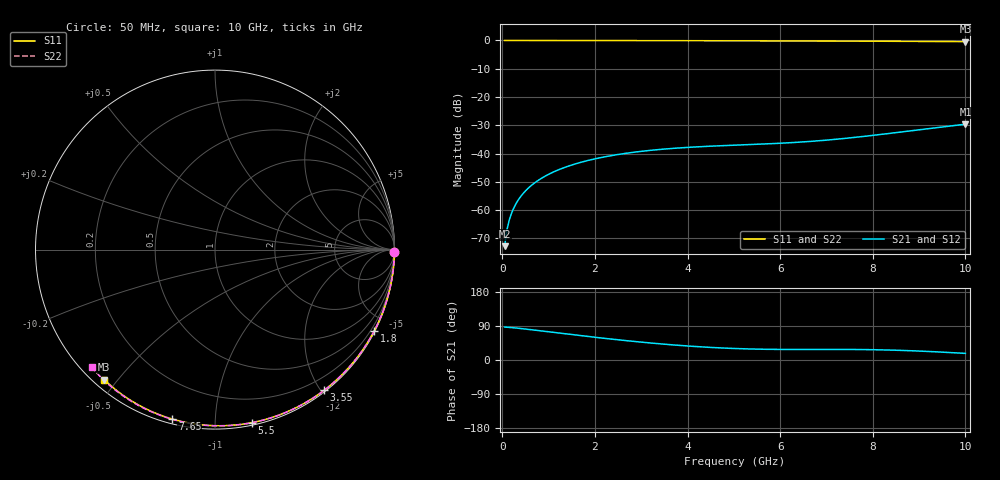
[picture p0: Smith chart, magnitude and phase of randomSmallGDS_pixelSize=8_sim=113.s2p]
! freq	dB(S11)	phase(S11)	dB(S12)	phase(S12)
!  dB(S21)	phase(S21)	dB(S22)	phase(S22)
!S-par simulation data
#  GHz  S  DB  R 50
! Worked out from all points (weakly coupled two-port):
!   200 points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, 50 MHz to 10 GHz, reference 50 ohm
!   highest |S21| = -29.61 dB at 10 GHz (marker M1); lowest = -72.7 dB at 50 MHz (marker M2)
!   lowest |S11| = -0.4 dB at 10 GHz (marker M3), VSWR 40.24, Z = 1.51 - j23.1 ohm
!   |S11| at or under -10 dB: nowhere
!   |S22| runs from -0.5 to 0.0 dB; largest |S21 - S12| = 0
!   S11 on the Smith chart (normalised r, x): 50 MHz: open; 1.8 GHz: 0.04, -4.16; 3.55 GHz: 0.02, -2.04; 5.5 GHz: 0.02, -1.23; 7.65 GHz: 0.02, -0.78; 10 GHz: 0.03, -0.46
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0.05  -0.00 -0.8  -72.73 86.9  -72.73 86.9  -0.00 -0.8
0.1  -0.00 -1.5  -66.95 86.3  -66.95 86.3  -0.00 -1.6
0.15  -0.00 -2.3  -63.52 86.0  -63.52 86.0  -0.00 -2.4
0.2  -0.00 -3.1  -61.07 85.6  -61.07 85.6  -0.00 -3.2
0.25  -0.00 -3.8  -59.16 85.0  -59.16 85.0  -0.00 -4.0
0.35  -0.00 -5.3  -56.26 83.8  -56.26 83.8  -0.00 -5.6
0.5  -0.01 -7.6  -53.20 81.7  -53.20 81.7  -0.01 -8.0
0.7  -0.01 -10.7  -50.33 78.8  -50.33 78.8  -0.01 -11.2
1  -0.02 -15.2  -47.33 74.4  -47.33 74.4  -0.02 -15.9
1.35  -0.03 -20.4  -44.87 69.2  -44.87 69.2  -0.03 -21.4
1.75  -0.03 -26.3  -42.85 63.5  -42.85 63.5  -0.04 -27.6
1.8  -0.03 -27.1  -42.63 62.8  -42.63 62.8  -0.04 -28.3
2.5  -0.05 -37.3  -40.32 53.3  -40.32 53.3  -0.05 -39.0
3.4  -0.07 -50.0  -38.54 42.7  -38.54 42.7  -0.07 -52.3
3.55  -0.07 -52.1  -38.33 41.2  -38.33 41.2  -0.07 -54.5
4.3  -0.09 -62.4  -37.54 34.6  -37.54 34.6  -0.09 -65.2
5.05  -0.11 -72.3  -37.00 30.2  -37.00 30.2  -0.12 -75.5
5.5  -0.13 -78.1  -36.71 28.7  -36.71 28.7  -0.13 -81.5
6.7  -0.18 -92.9  -35.64 27.8  -35.64 27.8  -0.19 -96.9
7.65  -0.23 -104.1  -34.21 27.7  -34.21 27.7  -0.24 -108.6
8.35  -0.28 -112.1  -32.89 26.3  -32.89 26.3  -0.29 -117.0
10  -0.43 -130.4  -29.61 17.4  -29.61 17.4  -0.45 -136.3
